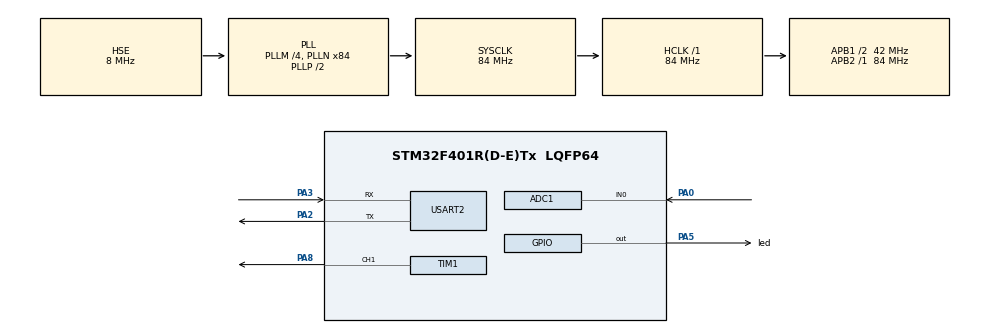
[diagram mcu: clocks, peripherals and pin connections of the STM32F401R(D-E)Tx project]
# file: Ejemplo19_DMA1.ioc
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ADC1.Channel-0\#ChannelRegularConversion=ADC_CHANNEL_0
ADC1.ContinuousConvMode=ENABLE
ADC1.DMAContinuousRequests=ENABLE
ADC1.NbrOfConversionFlag=1
ADC1.Rank-0\#ChannelRegularConversion=1
ADC1.SamplingTime-0\#ChannelRegularConversion=ADC_SAMPLETIME_3CYCLES
ADC1.master=1
Dma.ADC1.0.Direction=DMA_PERIPH_TO_MEMORY
Dma.ADC1.0.FIFOMode=DMA_FIFOMODE_ENABLE
Dma.ADC1.0.FIFOThreshold=DMA_FIFO_THRESHOLD_FULL
Dma.ADC1.0.Instance=DMA2_Stream0
Dma.ADC1.0.MemBurst=DMA_MBURST_SINGLE
Dma.ADC1.0.MemDataAlignment=DMA_MDATAALIGN_HALFWORD
Dma.ADC1.0.MemInc=DMA_MINC_ENABLE
Dma.ADC1.0.Mode=DMA_CIRCULAR
Dma.ADC1.0.PeriphBurst=DMA_PBURST_SINGLE
Dma.ADC1.0.PeriphDataAlignment=DMA_PDATAALIGN_HALFWORD
Dma.ADC1.0.PeriphInc=DMA_PINC_DISABLE
Dma.ADC1.0.Priority=DMA_PRIORITY_LOW
Dma.Request0=ADC1
Dma.Request1=USART2_RX
Dma.Request2=TIM1_CH1
Dma.TIM1_CH1.2.Direction=DMA_PERIPH_TO_MEMORY
Dma.TIM1_CH1.2.FIFOMode=DMA_FIFOMODE_DISABLE
Dma.TIM1_CH1.2.Instance=DMA2_Stream1
Dma.TIM1_CH1.2.MemDataAlignment=DMA_MDATAALIGN_HALFWORD
Dma.TIM1_CH1.2.MemInc=DMA_MINC_ENABLE
Dma.TIM1_CH1.2.Mode=DMA_NORMAL
Dma.TIM1_CH1.2.PeriphDataAlignment=DMA_PDATAALIGN_HALFWORD
Dma.TIM1_CH1.2.PeriphInc=DMA_PINC_DISABLE
Dma.TIM1_CH1.2.Priority=DMA_PRIORITY_LOW
Dma.USART2_RX.1.Direction=DMA_PERIPH_TO_MEMORY
Dma.USART2_RX.1.FIFOMode=DMA_FIFOMODE_DISABLE
Dma.USART2_RX.1.Instance=DMA1_Stream5
Dma.USART2_RX.1.MemDataAlignment=DMA_MDATAALIGN_BYTE
Dma.USART2_RX.1.MemInc=DMA_MINC_ENABLE
Dma.USART2_RX.1.Mode=DMA_NORMAL
Dma.USART2_RX.1.PeriphDataAlignment=DMA_PDATAALIGN_BYTE
Dma.USART2_RX.1.PeriphInc=DMA_PINC_DISABLE
Dma.USART2_RX.1.Priority=DMA_PRIORITY_LOW
Mcu.Family=STM32F4
Mcu.Name=STM32F401R(D-E)Tx
Mcu.Package=LQFP64
NVIC.ADC_IRQn=true\:0\:0\:false\:false\:true\:true\:true\:true
NVIC.DMA1_Stream5_IRQn=true\:0\:0\:false\:false\:true\:false\:true\:true
NVIC.DMA2_Stream0_IRQn=true\:0\:0\:false\:false\:true\:false\:true\:true
NVIC.DMA2_Stream1_IRQn=true\:0\:0\:false\:false\:true\:false\:true\:true
NVIC.PriorityGroup=NVIC_PRIORITYGROUP_4
NVIC.USART2_IRQn=true\:0\:0\:false\:false\:true\:true\:true\:true
PA0-WKUP.Signal=ADCx_IN0
PA13.Mode=Serial_Wire
PA13.Signal=SYS_JTMS-SWDIO
PA14.Mode=Serial_Wire
PA14.Signal=SYS_JTCK-SWCLK
PA2.Mode=Asynchronous
PA2.Signal=USART2_TX
PA3.Mode=Asynchronous
PA3.Signal=USART2_RX
PA5.GPIO_Label=led
PA5.Signal=GPIO_Output
PA8.Signal=S_TIM1_CH1
PH0\ -\ OSC_IN.Mode=HSE-External-Clock-Source
PH0\ -\ OSC_IN.Signal=RCC_OSC_IN
PH1\ -\ OSC_OUT.Mode=HSE-External-Clock-Source
PH1\ -\ OSC_OUT.Signal=RCC_OSC_OUT
ProjectManager.HeapSize=0x200
ProjectManager.StackSize=0x400
ProjectManager.TargetToolchain=STM32CubeIDE
RCC.48MHZClocksFreq_Value=42000000
RCC.AHBFreq_Value=84000000
RCC.APB1CLKDivider=RCC_HCLK_DIV2
RCC.APB1Freq_Value=42000000
RCC.APB1TimFreq_Value=84000000
RCC.APB2Freq_Value=84000000
RCC.APB2TimFreq_Value=84000000
RCC.CortexFreq_Value=84000000
RCC.HCLKFreq_Value=84000000
RCC.HSE_VALUE=8000000
RCC.HSI_VALUE=16000000
RCC.LSE_VALUE=32768
RCC.PLLM=4
RCC.PLLN=84
RCC.PLLSourceVirtual=RCC_PLLSOURCE_HSE
RCC.SYSCLKFreq_VALUE=84000000
RCC.SYSCLKSource=RCC_SYSCLKSOURCE_PLLCLK
RCC.VCOOutputFreq_Value=168000000
SH.ADCx_IN0.0=ADC1_IN0,IN0
SH.S_TIM1_CH1.0=TIM1_CH1,PWM Generation1 CH1
TIM1.Channel-PWM\ Generation1\ CH1=TIM_CHANNEL_1
TIM1.Period=8400-1
TIM1.Prescaler=100-1
USART2.VirtualMode=VM_ASYNC
board=custom

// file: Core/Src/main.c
/* USER CODE BEGIN Header */
/**
  ******************************************************************************
  * @file           : main.c
  * @brief          : Main program body
  ******************************************************************************
  * @attention
  *
  * Copyright (c) 2023 STMicroelectronics.
  * All rights reserved.
  *
  * This software is licensed under terms that can be found in the LICENSE file
  * in the root directory of this software component.
  * If no LICENSE file comes with this software, it is provided AS-IS.
  *
  ******************************************************************************
  */
/* USER CODE END Header */
#include "main.h"
#include "adc.h"
#include "dma.h"
#include "tim.h"
#include "usart.h"
#include "gpio.h"

/* USER CODE BEGIN Includes */
#include "string.h"
#include "stdio.h"
/* USER CODE END Includes */

void SystemClock_Config(void);

/* USER CODE BEGIN 0 */
#define long_buffer 4096
uint16_t data_read[long_buffer];
volatile uint8_t rx = 0;
uint8_t DataRX[100];
uint8_t i=0;
uint16_t Ref;
/* USER CODE END 0 */

int main(void)
{

  /* MCU Configuration--------------------------------------------------------*/

  /* Reset of all peripherals, Initializes the Flash interface and the Systick. */
  HAL_Init();

  /* Configure the system clock */
  SystemClock_Config();

  /* Initialize all configured peripherals */
  MX_GPIO_Init();
  MX_DMA_Init();
  MX_ADC1_Init();
  MX_USART2_UART_Init();
  MX_TIM1_Init();
  /* USER CODE BEGIN 2 */
  HAL_ADC_Start_DMA(&hadc1,(uint32_t*)data_read, long_buffer);
  HAL_UART_Receive_DMA(&huart2, &rx, 1);
  uint16_t duty=2000;
  HAL_TIM_PWM_Start_DMA(&htim1, TIM_CHANNEL_1, &duty, 1);
  /* USER CODE END 2 */

  /* Infinite loop */
  while (1)
  {

  }
}

void SystemClock_Config(void)
{
  RCC_OscInitTypeDef RCC_OscInitStruct = {0};
  RCC_ClkInitTypeDef RCC_ClkInitStruct = {0};

  /** Configure the main internal regulator output voltage
  */
  __HAL_RCC_PWR_CLK_ENABLE();
  __HAL_PWR_VOLTAGESCALING_CONFIG(PWR_REGULATOR_VOLTAGE_SCALE2);

  /** Initializes the RCC Oscillators according to the specified parameters
  * in the RCC_OscInitTypeDef structure.
  */
  RCC_OscInitStruct.OscillatorType = RCC_OSCILLATORTYPE_HSE;
  RCC_OscInitStruct.HSEState = RCC_HSE_BYPASS;
  RCC_OscInitStruct.PLL.PLLState = RCC_PLL_ON;
  RCC_OscInitStruct.PLL.PLLSource = RCC_PLLSOURCE_HSE;
  RCC_OscInitStruct.PLL.PLLM = 4;
  RCC_OscInitStruct.PLL.PLLN = 84;
  RCC_OscInitStruct.PLL.PLLP = RCC_PLLP_DIV2;
  RCC_OscInitStruct.PLL.PLLQ = 4;
  if (HAL_RCC_OscConfig(&RCC_OscInitStruct) != HAL_OK)
  {
    Error_Handler();
  }

  /** Initializes the CPU, AHB and APB buses clocks
  */
  RCC_ClkInitStruct.ClockType = RCC_CLOCKTYPE_HCLK|RCC_CLOCKTYPE_SYSCLK
                              |RCC_CLOCKTYPE_PCLK1|RCC_CLOCKTYPE_PCLK2;
  RCC_ClkInitStruct.SYSCLKSource = RCC_SYSCLKSOURCE_PLLCLK;
  RCC_ClkInitStruct.AHBCLKDivider = RCC_SYSCLK_DIV1;
  RCC_ClkInitStruct.APB1CLKDivider = RCC_HCLK_DIV2;
  RCC_ClkInitStruct.APB2CLKDivider = RCC_HCLK_DIV1;

  if (HAL_RCC_ClockConfig(&RCC_ClkInitStruct, FLASH_LATENCY_2) != HAL_OK)
  {
    Error_Handler();
  }
}

/* USER CODE BEGIN 4 */
void HAL_ADC_ConvHalfCpltCallback(ADC_HandleTypeDef* hadc)
{

HAL_GPIO_WritePin(led_GPIO_Port, led_Pin, 0);

}

void HAL_ADC_ConvCpltCallback (ADC_HandleTypeDef * hadc){

	HAL_GPIO_WritePin(led_GPIO_Port, led_Pin, 1);

}

 void HAL_UART_RxCpltCallback(UART_HandleTypeDef *huart)
{
	 HAL_UART_Receive_DMA(&huart2, &rx, 1);
	  if (rx == 'x') {
	        Ref = atoi(DataRX);
	        memset(DataRX,0,i);
	        i=0;
	        __HAL_TIM_SET_COMPARE(&htim1,TIM_CHANNEL_1, Ref);
	    }else{
	        DataRX[i]=rx;
	        i++;
	    }
}

/* USER CODE END 4 */

void Error_Handler(void)
{
  __disable_irq();
  while (1)
  {
  }
}
